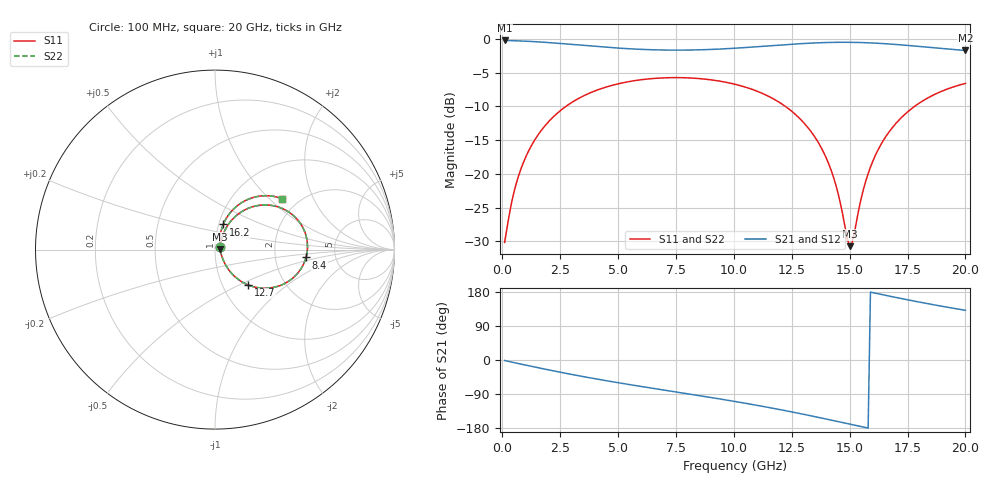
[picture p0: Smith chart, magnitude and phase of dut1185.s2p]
! Touchstone file exported from HFSS 2026.1.0
!  File:  C:/ffzhzh/LocalFiles/Ansys_Project_Files/temp_train_TSV_RDL_1185_1783316450_30076.aedt
!  Generated:  01:49:58 PM Jul  6, 2026
!  Design:  TSV_RDL
!  Project:  temp_train_TSV_RDL_1185_1783316450_30076
! Variables:
!  h_bsmrdl = 3.87um
!  h_ox = 20um
!  h_rdl = 5um
!  h_sub = 69.22um
!  h_tmrdl = 3.76um
!  h_tsv = 69.22um
!  h_via = 3um
!  l_bsmrdl = 124.29um
!  l_sub = 3708.03um
!  l_tmrdl = 709.55um
!  m_sub = 200um
!  pitch = 33.14um
!  r_tsv = 7.33um
!  s_tmrdl = 10um
!  w_bsmrdl = 21.8um
!  w_sub = 500um
!  w_tmrdl = 10.52um
!  x_tsv_center1 = 714.81um
!  x_tsv_center2 = 860.9um
!  x_tsv_center3 = 1580.97um
!  x_tsv_center4 = 1727.06um
!  x_tsv_center5 = 2447.13um
!  x_tsv_center6 = 2593.22um
# GHz S MA R 50.000000
! Terminal data exported
! Port[1] = TM_RDL1_1_T1
! Port[2] = TM_RDL5_1_T1
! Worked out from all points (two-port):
!   200 points, 100 MHz to 20 GHz, reference 50 ohm
!   highest |S21| = -0.25 dB at 100 MHz (marker M1); lowest = -1.7 dB at 20 GHz (marker M2)
!   |S21| within 3 dB of the highest: start of sweep to end of sweep
!   lowest |S11| = -30.7 dB at 15 GHz (marker M3), VSWR 1.06, Z = 53 + j0.0967 ohm
!   |S11| at or under -10 dB: start of sweep to 2.752 GHz; 12.22 GHz to 17.81 GHz (5.588 GHz wide, 37.2 % of centre)
!   |S22| runs from -30.7 to -5.7 dB; largest |S21 - S12| = 1.7e-14
!   S11 on the Smith chart (normalised r, x): 100 MHz: 1.06, +0.03; 8.4 GHz: 3.03, -0.36; 12.7 GHz: 1.32, -0.56; 16.2 GHz: 1.05, +0.30; 20 GHz: 1.64, +1.19
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0.1  0.03102 24.8  0.9721 -1.4  0.9721 -1.4  0.03102 24.8
! Gamma 0 0 0 0
! Port Impedance 50 0 50 0
0.4  0.061 55.8  0.9692 -5.5  0.9692 -5.5  0.061 55.8
0.6  0.08446 60.8  0.9665 -8.1  0.9665 -8.1  0.08446 60.8
1.2  0.155 62.2  0.9564 -16.0  0.9564 -16.0  0.155 62.2
2.2  0.2639 54.4  0.9322 -28.6  0.9322 -28.6  0.2639 54.4
3.5  0.3772 41.3  0.8936 -43.9  0.8936 -43.9  0.3772 41.3
5  0.4639 26.4  0.8534 -59.9  0.8534 -59.9  0.4639 26.4
6.8  0.512 9.6  0.8267 -77.6  0.8267 -77.6  0.512 9.6
8.4  0.5091 -4.9  0.8276 -93.0  0.8276 -93.0  0.509 -4.9
10.1  0.4583 -20.9  0.8526 -110.0  0.8526 -110.0  0.4583 -20.9
11.5  0.375 -34.7  0.8861 -125.2  0.8861 -125.2  0.375 -34.7
12.7  0.2714 -46.7  0.9161 -139.4  0.9161 -139.4  0.2714 -46.7
13.4  0.1982 -52.9  0.9303 -148.2  0.9303 -148.2  0.1982 -52.9
13.9  0.1415 -55.8  0.9375 -154.6  0.9375 -154.6  0.1415 -55.7
14.3  0.09489 -54.9  0.941 -159.9  0.941 -159.9  0.09492 -54.8
15  0.02913 1.8  0.9419 -169.1  0.9419 -169.1  0.02931 1.9
15.1  0.03035 24.7  0.9414 -170.4  0.9414 -170.4  0.03054 24.7
15.7  0.08874 70.5  0.9356 -178.3  0.9356 -178.3  0.08882 70.4
16.2  0.1472 71.9  0.9271 175.2  0.9271 175.2  0.1473 71.8
16.7  0.204 68.9  0.9157 168.8  0.9157 168.8  0.204 68.9
18.1  0.3419 55.9  0.8747 151.8  0.8747 151.8  0.342 55.9
20  0.4676 37.5  0.8194 131.1  0.8194 131.1  0.4676 37.5
